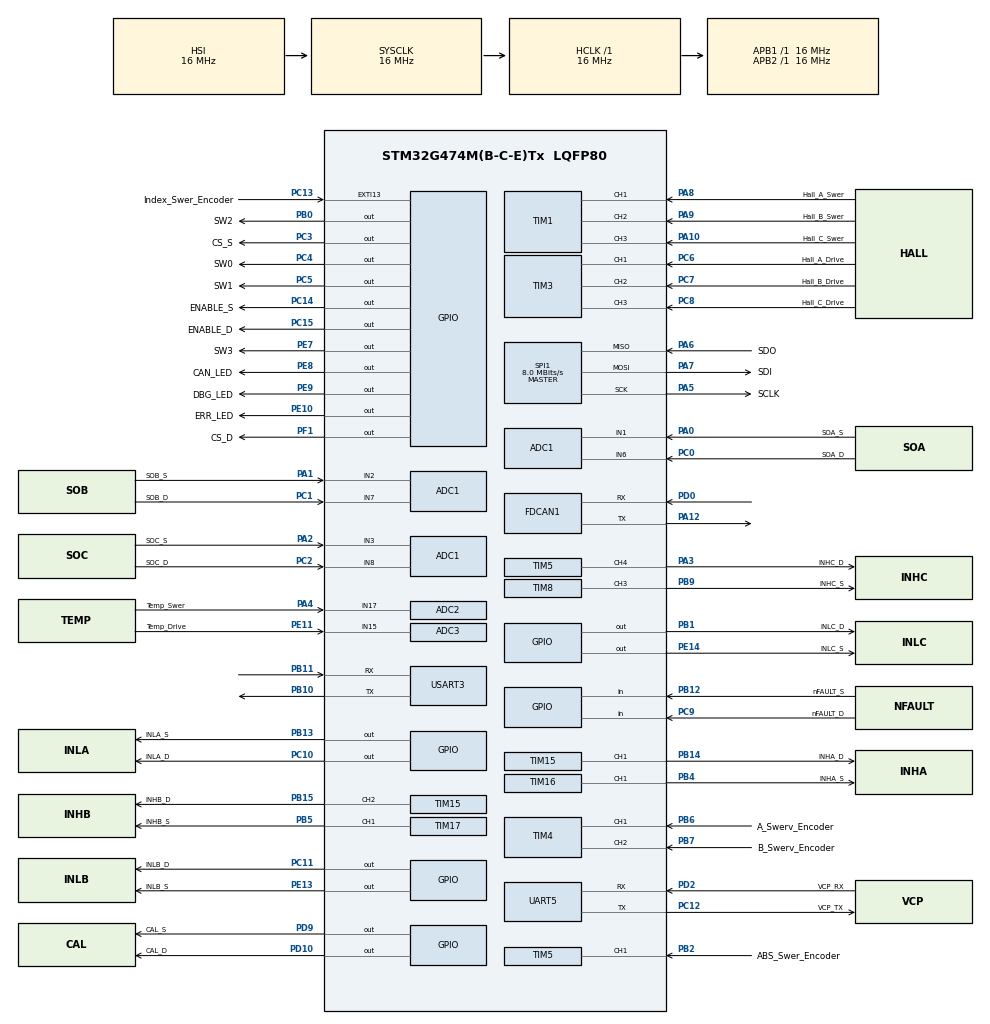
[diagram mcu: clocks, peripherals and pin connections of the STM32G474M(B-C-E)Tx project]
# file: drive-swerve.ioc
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ADC1.Channel-0\#ChannelRegularConversion=ADC_CHANNEL_6
ADC1.NbrOfConversionFlag=1
ADC1.OffsetNumber-0\#ChannelRegularConversion=ADC_OFFSET_NONE
ADC1.Rank-0\#ChannelRegularConversion=1
ADC1.SamplingTime-0\#ChannelRegularConversion=ADC_SAMPLETIME_2CYCLES_5
ADC1.master=1
ADC2.Channel-0\#ChannelRegularConversion=ADC_CHANNEL_17
ADC2.NbrOfConversionFlag=1
ADC2.OffsetNumber-0\#ChannelRegularConversion=ADC_OFFSET_NONE
ADC2.Rank-0\#ChannelRegularConversion=1
ADC2.SamplingTime-0\#ChannelRegularConversion=ADC_SAMPLETIME_2CYCLES_5
ADC3.Channel-0\#ChannelRegularConversion=ADC_CHANNEL_15
ADC3.NbrOfConversionFlag=1
ADC3.OffsetNumber-0\#ChannelRegularConversion=ADC_OFFSET_NONE
ADC3.Rank-0\#ChannelRegularConversion=1
ADC3.SamplingTime-0\#ChannelRegularConversion=ADC_SAMPLETIME_2CYCLES_5
ADC3.master=1
FDCAN1.AutoRetransmission=ENABLE
FDCAN1.CalculateBaudRateNominal=333333
FDCAN1.CalculateTimeBitNominal=3000
FDCAN1.CalculateTimeQuantumNominal=1000.0
Mcu.Family=STM32G4
Mcu.Name=STM32G474M(B-C-E)Tx
Mcu.Package=LQFP80
NVIC.PriorityGroup=NVIC_PRIORITYGROUP_4
NVIC.TIM1_CC_IRQn=true\:0\:0\:false\:false\:true\:true\:true\:true
NVIC.TIM3_IRQn=true\:0\:0\:false\:false\:true\:true\:true\:true
PA0.GPIO_Label=SOA_S
PA0.Mode=IN1-Single-Ended
PA0.Signal=ADC1_IN1
PA1.GPIO_Label=SOB_S
PA1.Mode=IN2-Single-Ended
PA1.Signal=ADC1_IN2
PA10.GPIO_Label=Hall_C_Swer
PA10.Signal=SharedStack_PA10
PA10.Stacked=true
PA12.Mode=FDCAN_Activate
PA12.Signal=FDCAN1_TX
PA13.Mode=JTAG_4_pins
PA13.Signal=SYS_JTMS-SWDIO
PA14.Mode=JTAG_4_pins
PA14.Signal=SYS_JTCK-SWCLK
PA15.Mode=JTAG_4_pins
PA15.Signal=SYS_JTDI
PA2.GPIO_Label=SOC_S
PA2.Mode=IN3-Single-Ended
PA2.Signal=ADC1_IN3
PA3.GPIO_Label=INHC_D
PA3.Signal=S_TIM5_CH4
PA4.GPIO_Label=Temp_Swer
PA4.Mode=IN17-Single-Ended
PA4.Signal=ADC2_IN17
PA5.GPIO_Label=SCLK
PA5.Mode=Full_Duplex_Master
PA5.Signal=SPI1_SCK
PA6.GPIO_Label=SDO
PA6.Mode=Full_Duplex_Master
PA6.Signal=SPI1_MISO
PA7.GPIO_Label=SDI
PA7.Mode=Full_Duplex_Master
PA7.Signal=SPI1_MOSI
PA8.GPIO_Label=Hall_A_Swer
PA8.Signal=SharedStack_PA8
PA8.Stacked=true
PA9.GPIO_Label=Hall_B_Swer
PA9.Signal=SharedStack_PA9
PA9.Stacked=true
PB0.GPIO_Label=SW2
PB0.Signal=GPIO_Output
PB1.GPIO_Label=INLC_D
PB1.Signal=GPIO_Output
PB10.Mode=Asynchronous
PB10.Signal=USART3_TX
PB11.Mode=Asynchronous
PB11.Signal=USART3_RX
PB12.GPIO_Label=nFAULT_S
PB12.Signal=GPIO_Input
PB13.GPIO_Label=INLA_S
PB13.Signal=GPIO_Output
PB14.GPIO_Label=INHA_D
PB14.Signal=S_TIM15_CH1
PB15.GPIO_Label=INHB_D
PB15.Signal=S_TIM15_CH2
PB2.GPIO_Label=ABS_Swer_Encoder
PB2.Signal=S_TIM5_CH1
PB3.Mode=JTAG_4_pins
PB3.Signal=SYS_JTDO-SWO
PB4.GPIO_Label=INHA_S
PB4.Signal=S_TIM16_CH1
PB5.GPIO_Label=INHB_S
PB5.Signal=S_TIM17_CH1
PB6.GPIO_Label=A_Swerv_Encoder
PB6.Signal=S_TIM4_CH1
PB7.GPIO_Label=B_Swerv_Encoder
PB7.Signal=S_TIM4_CH2
PB9.GPIO_Label=INHC_S
PB9.Signal=S_TIM8_CH3
PC0.GPIO_Label=SOA_D
PC0.Mode=IN6-Single-Ended
PC0.Signal=ADC1_IN6
PC1.GPIO_Label=SOB_D
PC1.Mode=IN7-Single-Ended
PC1.Signal=ADC1_IN7
PC10.GPIO_Label=INLA_D
PC10.Signal=GPIO_Output
PC11.GPIO_Label=INLB_D
PC11.Signal=GPIO_Output
PC12.GPIO_Label=VCP_TX
PC12.Mode=Asynchronous
PC12.Signal=UART5_TX
PC13.GPIO_Label=Index_Swer_Encoder
PC13.Signal=GPXTI13
PC14-OSC32_IN.GPIO_Label=ENABLE_S
PC14-OSC32_IN.Signal=GPIO_Output
PC15-OSC32_OUT.GPIO_Label=ENABLE_D
PC15-OSC32_OUT.Signal=GPIO_Output
PC2.GPIO_Label=SOC_D
PC2.Mode=IN8-Single-Ended
PC2.Signal=ADC1_IN8
PC3.GPIO_Label=CS_S
PC3.Signal=GPIO_Output
PC4.GPIO_Label=SW0
PC4.Signal=GPIO_Output
PC5.GPIO_Label=SW1
PC5.Signal=GPIO_Output
PC6.GPIO_Label=Hall_A_Drive
PC6.Signal=SharedStack_PC6
PC6.Stacked=true
PC7.GPIO_Label=Hall_B_Drive
PC7.Signal=SharedStack_PC7
PC7.Stacked=true
PC8.GPIO_Label=Hall_C_Drive
PC8.Signal=SharedStack_PC8
PC8.Stacked=true
PC9.GPIO_Label=nFAULT_D
PC9.Signal=GPIO_Input
PD0.Mode=FDCAN_Activate
PD0.Signal=FDCAN1_RX
PD10.GPIO_Label=CAL_D
PD10.Signal=GPIO_Output
PD2.GPIO_Label=VCP_RX
PD2.Mode=Asynchronous
PD2.Signal=UART5_RX
PD9.GPIO_Label=CAL_S
PD9.Signal=GPIO_Output
PE10.GPIO_Label=ERR_LED
PE10.Signal=GPIO_Output
PE11.GPIO_Label=Temp_Drive
PE11.Mode=IN15-Single-Ended
PE11.Signal=ADC3_IN15
PE13.GPIO_Label=INLB_S
PE13.Signal=GPIO_Output
PE14.GPIO_Label=INLC_S
PE14.Signal=GPIO_Output
PE7.GPIO_Label=SW3
PE7.Signal=GPIO_Output
PE8.GPIO_Label=CAN_LED
PE8.Signal=GPIO_Output
PE9.GPIO_Label=DBG_LED
PE9.Signal=GPIO_Output
PF0-OSC_IN.Mode=HSE-External-Clock-Source
PF0-OSC_IN.Signal=RCC_OSC_IN
PF1-OSC_OUT.GPIO_Label=CS_D
PF1-OSC_OUT.Signal=GPIO_Output
ProjectManager.HeapSize=0x200
ProjectManager.StackSize=0x400
ProjectManager.TargetToolchain=CMake
RCC.AHBFreq_Value=16000000
RCC.APB1Freq_Value=16000000
RCC.APB1TimFreq_Value=16000000
RCC.APB2Freq_Value=16000000
RCC.APB2TimFreq_Value=16000000
RCC.CortexFreq_Value=16000000
RCC.EXTERNAL_CLOCK_VALUE=12288000
RCC.HCLKFreq_Value=16000000
RCC.HSE_VALUE=8000000
RCC.HSI48_VALUE=48000000
RCC.HSI_VALUE=16000000
RCC.LSE_VALUE=32768
RCC.SYSCLKFreq_VALUE=16000000
RCC.USBFreq_Value=64000000
RCC.VCOOutputFreq_Value=128000000
SH.S_TIM15_CH1.0=TIM15_CH1,PWM Generation1 CH1
SH.S_TIM15_CH2.0=TIM15_CH2,PWM Generation2 CH2
SH.S_TIM16_CH1.0=TIM16_CH1,PWM Generation1 CH1
SH.S_TIM17_CH1.0=TIM17_CH1,PWM Generation1 CH1
SH.S_TIM4_CH1.0=TIM4_CH1,Encoder_Interface
SH.S_TIM4_CH2.0=TIM4_CH2,Encoder_Interface
SH.S_TIM5_CH1.0=TIM5_CH1,PWM_Input_1
SH.S_TIM5_CH4.0=TIM5_CH4,PWM Generation4 CH4
SH.S_TIM8_CH3.0=TIM8_CH3,PWM Generation3 CH3
SH.SharedStack_PA10.0=TIM1_CH3,Xored_Inputs_Hall_Sensor_Interface
SH.SharedStack_PA8.0=TIM1_CH1,Xored_Inputs_Hall_Sensor_Interface
SH.SharedStack_PA9.0=TIM1_CH2,Xored_Inputs_Hall_Sensor_Interface
SH.SharedStack_PC6.0=TIM3_CH1,Xored_Inputs_Hall_Sensor_Interface
SH.SharedStack_PC7.0=TIM3_CH2,Xored_Inputs_Hall_Sensor_Interface
SH.SharedStack_PC8.0=TIM3_CH3,Xored_Inputs_Hall_Sensor_Interface
SPI1.CLKPhase=SPI_PHASE_2EDGE
SPI1.CalculateBaudRate=8.0 MBits/s
SPI1.DataSize=SPI_DATASIZE_16BIT
SPI1.Direction=SPI_DIRECTION_2LINES
SPI1.Mode=SPI_MODE_MASTER
SPI1.VirtualType=VM_MASTER
TIM15.Channel-PWM\ Generation1\ CH1=TIM_CHANNEL_1
TIM15.Channel-PWM\ Generation2\ CH2=TIM_CHANNEL_2
TIM16.Channel=TIM_CHANNEL_1
TIM17.Channel=TIM_CHANNEL_1
TIM4.EncoderMode=TIM_ENCODERMODE_TI12
TIM4.IC2Filter=5
TIM5.Channel-PWM\ Generation4\ CH4=TIM_CHANNEL_4
TIM5.ICFilter_1=5
TIM5.ICFilter_2=5
TIM8.Channel-PWM\ Generation3\ CH3=TIM_CHANNEL_3
USART3.VirtualMode-Asynchronous=VM_ASYNC
VP_CORDIC_VS_CORDIC.Mode=CORDIC_Activate
VP_SYS_VS_DBSignals.Mode=DisableDeadBatterySignals
VP_TIM15_VS_ClockSourceINT.Mode=Internal
VP_TIM16_VS_ClockSourceINT.Mode=Enable_Timer
VP_TIM17_VS_ClockSourceINT.Mode=Enable_Timer
VP_TIM1_VS_ClockSourceINT.Mode=Internal
VP_TIM3_VS_ClockSourceINT.Mode=Internal
VP_TIM5_VS_ClockSourceINT.Mode=Internal
VP_TIM8_VS_ClockSourceINT.Mode=Internal
board=custom

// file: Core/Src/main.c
/* USER CODE BEGIN Header */
/**
  ******************************************************************************
  * @file           : main.c
  * @brief          : Main program body
  ******************************************************************************
  * @attention
  *
  * Copyright (c) 2026 STMicroelectronics.
  * All rights reserved.
  *
  * This software is licensed under terms that can be found in the LICENSE file
  * in the root directory of this software component.
  * If no LICENSE file comes with this software, it is provided AS-IS.
  *
  ******************************************************************************
  */
/* USER CODE END Header */
#include "main.h"

/* USER CODE BEGIN Includes */
#include "hall_encoders.h"
#include "commutation.h"
#include "CAN26/CAN26.h"

/* USER CODE END Includes */

/* USER CODE BEGIN PM */
#define HALL_DRIVE_TIM (&htim3)
#define HALL_SWERV_TIM (&htim1)

#define INHA_D_TIM (&htim15)
#define INHA_D_TIM_CHANNEL (TIM_CHANNEL_1)
#define INHB_D_TIM (&htim15)
#define INHB_D_TIM_CHANNEL (TIM_CHANNEL_2)
#define INHC_D_TIM (&htim5)
#define INHC_D_TIM_CHANNEL (TIM_CHANNEL_4)

#define INHA_S_TIM (&htim16)
#define INHA_S_TIM_CHANNEL (TIM_CHANNEL_1)
#define INHB_S_TIM (&htim17)
#define INHB_S_TIM_CHANNEL (TIM_CHANNEL_1)
#define INHC_S_TIM (&htim8)
#define INHC_S_TIM_CHANNEL (TIM_CHANNEL_3)

/* USER CODE END PM */

ADC_HandleTypeDef hadc1;
ADC_HandleTypeDef hadc2;
ADC_HandleTypeDef hadc3;

CORDIC_HandleTypeDef hcordic;

FDCAN_HandleTypeDef hfdcan1;

SPI_HandleTypeDef hspi1;

TIM_HandleTypeDef htim1;
TIM_HandleTypeDef htim3;
TIM_HandleTypeDef htim4;
TIM_HandleTypeDef htim5;
TIM_HandleTypeDef htim8;
TIM_HandleTypeDef htim15;
TIM_HandleTypeDef htim16;
TIM_HandleTypeDef htim17;

UART_HandleTypeDef huart5;
UART_HandleTypeDef huart3;

/* USER CODE BEGIN PV */
CANHandle_t CANHandle = &hfdcan1;
CANDevice_t CANDevice = {
    .motorDomain = 1,
    .deviceUUID = CAN_UUID_BLDC_FRONT_TIRE_LEFT
};

/* USER CODE END PV */

void SystemClock_Config(void);
static void MX_GPIO_Init(void);
static void MX_FDCAN1_Init(void);
static void MX_ADC2_Init(void);
static void MX_ADC1_Init(void);
static void MX_ADC3_Init(void);
static void MX_SPI1_Init(void);
static void MX_TIM1_Init(void);
static void MX_TIM3_Init(void);
static void MX_UART5_Init(void);
static void MX_USART3_UART_Init(void);
static void MX_TIM4_Init(void);
static void MX_TIM5_Init(void);
static void MX_TIM15_Init(void);
static void MX_TIM8_Init(void);
static void MX_TIM16_Init(void);
static void MX_TIM17_Init(void);
static void MX_CORDIC_Init(void);

/* USER CODE BEGIN 0 */
// Sends a general acknowlegement packet with success
static uint8_t SendAck(CANHandle_t CANHandle, const CANPacket_t *in_packet) {
    CANDevice_t receiver = in_packet->device;
    CANDevice_t sender = (CANDevice_t){.deviceUUID = in_packet->senderUUID};
    CANPacket_t response = CANUniversalPacket_Acknowledge(receiver, sender, false, in_packet->command & 0x7F);
    return CANSend(CANHandle, &response);
}

/* USER CODE END 0 */

int main(void)
{

  /* MCU Configuration--------------------------------------------------------*/

  /* Reset of all peripherals, Initializes the Flash interface and the Systick. */
  HAL_Init();

  /* Configure the system clock */
  SystemClock_Config();

  /* Initialize all configured peripherals */
  MX_GPIO_Init();
  MX_FDCAN1_Init();
  MX_ADC2_Init();
  MX_ADC1_Init();
  MX_ADC3_Init();
  MX_SPI1_Init();
  MX_TIM1_Init();
  MX_TIM3_Init();
  MX_UART5_Init();
  MX_USART3_UART_Init();
  MX_TIM4_Init();
  MX_TIM5_Init();
  MX_TIM15_Init();
  MX_TIM8_Init();
  MX_TIM16_Init();
  MX_TIM17_Init();
  MX_CORDIC_Init();
  /* USER CODE BEGIN 2 */
  Hall_Init(HALL_ID_DRIVE, (HallConfig_t){
            .timer = HALL_DRIVE_TIM,
            .a_gpio = Hall_A_Drive_GPIO_Port,
            .a_gpio_pin = Hall_A_Drive_Pin,
            .b_gpio = Hall_B_Drive_GPIO_Port,
            .b_gpio_pin = Hall_B_Drive_Pin,
            .c_gpio = Hall_C_Drive_GPIO_Port,
            .c_gpio_pin = Hall_C_Drive_Pin
  });
  Hall_Init(HALL_ID_SWERVE, (HallConfig_t){
            .timer = HALL_SWERV_TIM,
            .a_gpio = Hall_A_Swer_GPIO_Port,
            .a_gpio_pin = Hall_A_Swer_Pin,
            .b_gpio = Hall_B_Swer_GPIO_Port,
            .b_gpio_pin = Hall_B_Swer_Pin,
            .c_gpio = Hall_C_Swer_GPIO_Port,
            .c_gpio_pin = Hall_C_Swer_Pin
  });
  Commutation_Init(DRIVER_ID_DRIVE, (GateDriver_t){
            .a = (PWMPin_t){
                .tim = INHA_D_TIM,
                .tim_channel = INHA_D_TIM_CHANNEL,
                .lo_gpio = INLA_D_GPIO_Port,
                .lo_gpio_pin = INLA_D_Pin
            },
            .b = (PWMPin_t){
                .tim = INHB_D_TIM,
                .tim_channel = INHB_D_TIM_CHANNEL,
                .lo_gpio = INLB_D_GPIO_Port,
                .lo_gpio_pin = INLB_D_Pin
            },
            .c = (PWMPin_t){
                .tim = INHC_D_TIM,
                .tim_channel = INHC_D_TIM_CHANNEL,
                .lo_gpio = INLC_D_GPIO_Port,
                .lo_gpio_pin = INLC_D_Pin
            }
  });
  Commutation_Init(DRIVER_ID_SWERVE, (GateDriver_t){
            .a = (PWMPin_t){
                .tim = INHA_S_TIM,
                .tim_channel = INHA_S_TIM_CHANNEL,
                .lo_gpio = INLA_S_GPIO_Port,
                .lo_gpio_pin = INLA_S_Pin
            },
            .b = (PWMPin_t){
                .tim = INHB_S_TIM,
                .tim_channel = INHB_S_TIM_CHANNEL,
                .lo_gpio = INLB_S_GPIO_Port,
                .lo_gpio_pin = INLB_S_Pin
            },
            .c = (PWMPin_t){
                .tim = INHC_S_TIM,
                .tim_channel = INHC_S_TIM_CHANNEL,
                .lo_gpio = INLC_S_GPIO_Port,
                .lo_gpio_pin = INLC_S_Pin
            }
  });

  CANInit(CANHandle, &CANDevice);

  /* Configure CORDIC peripheral */
  LL_CORDIC_Config(CORDIC, LL_CORDIC_FUNCTION_COSINE,
		  	  	  	  	   LL_CORDIC_PRECISION_6CYCLES,
						   LL_CORDIC_SCALE_0,
						   LL_CORDIC_NBWRITE_1,
						   LL_CORDIC_NBREAD_2,
						   LL_CORDIC_INSIZE_16BITS,
						   LL_CORDIC_OUTSIZE_16BITS);

  /* USER CODE END 2 */

  /* Infinite loop */
  /* USER CODE BEGIN WHILE */
  while (1) {
    CANPacket_t packet;
    if (CANPollAndReceive(CANHandle, &packet)) {
        int ack = packet.command & 0x80;
        switch (packet.command & 0x7F) {
            case CAN_COMMAND_ID__VERSION_GET: {
                if (ack) {
                    CANUniversalPacket_GetFirmwareVersion_Decoded_t decoded =
                        CANUniversalPacket_GetFirmwareVersion_Decode(&packet);
                    CANPacket_t response = CANUniversalPacket_FirmwareVersion(decoded.receiver, decoded.sender, "d&s", 0);
                    CANSend(CANHandle, &response);

                }
                break;
            }
            case CAN_COMMAND_ID__E_STOP: {
                // TODO: do estop things
                if (ack) SendAck(CANHandle, &packet);
                break;
            }
            // TODO: encoder packets
            // TODO: bldc packets
        }
    }
    /* USER CODE END WHILE */

  }
}

void SystemClock_Config(void)
{
  RCC_OscInitTypeDef RCC_OscInitStruct = {0};
  RCC_ClkInitTypeDef RCC_ClkInitStruct = {0};

  /** Configure the main internal regulator output voltage
  */
  HAL_PWREx_ControlVoltageScaling(PWR_REGULATOR_VOLTAGE_SCALE1);

  /** Initializes the RCC Oscillators according to the specified parameters
  * in the RCC_OscInitTypeDef structure.
  */
  RCC_OscInitStruct.OscillatorType = RCC_OSCILLATORTYPE_HSI;
  RCC_OscInitStruct.HSIState = RCC_HSI_ON;
  RCC_OscInitStruct.HSICalibrationValue = RCC_HSICALIBRATION_DEFAULT;
  RCC_OscInitStruct.PLL.PLLState = RCC_PLL_NONE;
  if (HAL_RCC_OscConfig(&RCC_OscInitStruct) != HAL_OK)
  {
    Error_Handler();
  }

  /** Initializes the CPU, AHB and APB buses clocks
  */
  RCC_ClkInitStruct.ClockType = RCC_CLOCKTYPE_HCLK|RCC_CLOCKTYPE_SYSCLK
                              |RCC_CLOCKTYPE_PCLK1|RCC_CLOCKTYPE_PCLK2;
  RCC_ClkInitStruct.SYSCLKSource = RCC_SYSCLKSOURCE_HSI;
  RCC_ClkInitStruct.AHBCLKDivider = RCC_SYSCLK_DIV1;
  RCC_ClkInitStruct.APB1CLKDivider = RCC_HCLK_DIV1;
  RCC_ClkInitStruct.APB2CLKDivider = RCC_HCLK_DIV1;

  if (HAL_RCC_ClockConfig(&RCC_ClkInitStruct, FLASH_LATENCY_0) != HAL_OK)
  {
    Error_Handler();
  }
}

static void MX_ADC1_Init(void)
{

  ADC_MultiModeTypeDef multimode = {0};
  ADC_ChannelConfTypeDef sConfig = {0};

  /** Common config
  */
  hadc1.Instance = ADC1;
  hadc1.Init.ClockPrescaler = ADC_CLOCK_SYNC_PCLK_DIV2;
  hadc1.Init.Resolution = ADC_RESOLUTION_12B;
  hadc1.Init.DataAlign = ADC_DATAALIGN_RIGHT;
  hadc1.Init.GainCompensation = 0;
  hadc1.Init.ScanConvMode = ADC_SCAN_DISABLE;
  hadc1.Init.EOCSelection = ADC_EOC_SINGLE_CONV;
  hadc1.Init.LowPowerAutoWait = DISABLE;
  hadc1.Init.ContinuousConvMode = DISABLE;
  hadc1.Init.NbrOfConversion = 1;
  hadc1.Init.DiscontinuousConvMode = DISABLE;
  hadc1.Init.ExternalTrigConv = ADC_SOFTWARE_START;
  hadc1.Init.ExternalTrigConvEdge = ADC_EXTERNALTRIGCONVEDGE_NONE;
  hadc1.Init.DMAContinuousRequests = DISABLE;
  hadc1.Init.Overrun = ADC_OVR_DATA_PRESERVED;
  hadc1.Init.OversamplingMode = DISABLE;
  if (HAL_ADC_Init(&hadc1) != HAL_OK)
  {
    Error_Handler();
  }

  /** Configure the ADC multi-mode
  */
  multimode.Mode = ADC_MODE_INDEPENDENT;
  if (HAL_ADCEx_MultiModeConfigChannel(&hadc1, &multimode) != HAL_OK)
  {
    Error_Handler();
  }

  /** Configure Regular Channel
  */
  sConfig.Channel = ADC_CHANNEL_6;
  sConfig.Rank = ADC_REGULAR_RANK_1;
  sConfig.SamplingTime = ADC_SAMPLETIME_2CYCLES_5;
  sConfig.SingleDiff = ADC_SINGLE_ENDED;
  sConfig.OffsetNumber = ADC_OFFSET_NONE;
  sConfig.Offset = 0;
  if (HAL_ADC_ConfigChannel(&hadc1, &sConfig) != HAL_OK)
  {
    Error_Handler();
  }

}

static void MX_ADC2_Init(void)
{

  ADC_ChannelConfTypeDef sConfig = {0};

  /** Common config
  */
  hadc2.Instance = ADC2;
  hadc2.Init.ClockPrescaler = ADC_CLOCK_SYNC_PCLK_DIV2;
  hadc2.Init.Resolution = ADC_RESOLUTION_12B;
  hadc2.Init.DataAlign = ADC_DATAALIGN_RIGHT;
  hadc2.Init.GainCompensation = 0;
  hadc2.Init.ScanConvMode = ADC_SCAN_DISABLE;
  hadc2.Init.EOCSelection = ADC_EOC_SINGLE_CONV;
  hadc2.Init.LowPowerAutoWait = DISABLE;
  hadc2.Init.ContinuousConvMode = DISABLE;
  hadc2.Init.NbrOfConversion = 1;
  hadc2.Init.DiscontinuousConvMode = DISABLE;
  hadc2.Init.ExternalTrigConv = ADC_SOFTWARE_START;
  hadc2.Init.ExternalTrigConvEdge = ADC_EXTERNALTRIGCONVEDGE_NONE;
  hadc2.Init.DMAContinuousRequests = DISABLE;
  hadc2.Init.Overrun = ADC_OVR_DATA_PRESERVED;
  hadc2.Init.OversamplingMode = DISABLE;
  if (HAL_ADC_Init(&hadc2) != HAL_OK)
  {
    Error_Handler();
  }

  /** Configure Regular Channel
  */
  sConfig.Channel = ADC_CHANNEL_17;
  sConfig.Rank = ADC_REGULAR_RANK_1;
  sConfig.SamplingTime = ADC_SAMPLETIME_2CYCLES_5;
  sConfig.SingleDiff = ADC_SINGLE_ENDED;
  sConfig.OffsetNumber = ADC_OFFSET_NONE;
  sConfig.Offset = 0;
  if (HAL_ADC_ConfigChannel(&hadc2, &sConfig) != HAL_OK)
  {
    Error_Handler();
  }

}

static void MX_ADC3_Init(void)
{

  ADC_MultiModeTypeDef multimode = {0};
  ADC_ChannelConfTypeDef sConfig = {0};

  /** Common config
  */
  hadc3.Instance = ADC3;
  hadc3.Init.ClockPrescaler = ADC_CLOCK_SYNC_PCLK_DIV2;
  hadc3.Init.Resolution = ADC_RESOLUTION_12B;
  hadc3.Init.DataAlign = ADC_DATAALIGN_RIGHT;
  hadc3.Init.GainCompensation = 0;
  hadc3.Init.ScanConvMode = ADC_SCAN_DISABLE;
  hadc3.Init.EOCSelection = ADC_EOC_SINGLE_CONV;
  hadc3.Init.LowPowerAutoWait = DISABLE;
  hadc3.Init.ContinuousConvMode = DISABLE;
  hadc3.Init.NbrOfConversion = 1;
  hadc3.Init.DiscontinuousConvMode = DISABLE;
  hadc3.Init.ExternalTrigConv = ADC_SOFTWARE_START;
  hadc3.Init.ExternalTrigConvEdge = ADC_EXTERNALTRIGCONVEDGE_NONE;
  hadc3.Init.DMAContinuousRequests = DISABLE;
  hadc3.Init.Overrun = ADC_OVR_DATA_PRESERVED;
  hadc3.Init.OversamplingMode = DISABLE;
  if (HAL_ADC_Init(&hadc3) != HAL_OK)
  {
    Error_Handler();
  }

  /** Configure the ADC multi-mode
  */
  multimode.Mode = ADC_MODE_INDEPENDENT;
  if (HAL_ADCEx_MultiModeConfigChannel(&hadc3, &multimode) != HAL_OK)
  {
    Error_Handler();
  }

  /** Configure Regular Channel
  */
  sConfig.Channel = ADC_CHANNEL_15;
  sConfig.Rank = ADC_REGULAR_RANK_1;
  sConfig.SamplingTime = ADC_SAMPLETIME_2CYCLES_5;
  sConfig.SingleDiff = ADC_SINGLE_ENDED;
  sConfig.OffsetNumber = ADC_OFFSET_NONE;
  sConfig.Offset = 0;
  if (HAL_ADC_ConfigChannel(&hadc3, &sConfig) != HAL_OK)
  {
    Error_Handler();
  }

}

static void MX_CORDIC_Init(void)
{

  hcordic.Instance = CORDIC;
  if (HAL_CORDIC_Init(&hcordic) != HAL_OK)
  {
    Error_Handler();
  }

}

static void MX_FDCAN1_Init(void)
{

  hfdcan1.Instance = FDCAN1;
  hfdcan1.Init.ClockDivider = FDCAN_CLOCK_DIV1;
  hfdcan1.Init.FrameFormat = FDCAN_FRAME_CLASSIC;
  hfdcan1.Init.Mode = FDCAN_MODE_NORMAL;
  hfdcan1.Init.AutoRetransmission = ENABLE;
  hfdcan1.Init.TransmitPause = DISABLE;
  hfdcan1.Init.ProtocolException = DISABLE;
  hfdcan1.Init.NominalPrescaler = 16;
  hfdcan1.Init.NominalSyncJumpWidth = 1;
  hfdcan1.Init.NominalTimeSeg1 = 1;
  hfdcan1.Init.NominalTimeSeg2 = 1;
  hfdcan1.Init.DataPrescaler = 1;
  hfdcan1.Init.DataSyncJumpWidth = 1;
  hfdcan1.Init.DataTimeSeg1 = 1;
  hfdcan1.Init.DataTimeSeg2 = 1;
  hfdcan1.Init.StdFiltersNbr = 0;
  hfdcan1.Init.ExtFiltersNbr = 0;
  hfdcan1.Init.TxFifoQueueMode = FDCAN_TX_FIFO_OPERATION;
  if (HAL_FDCAN_Init(&hfdcan1) != HAL_OK)
  {
    Error_Handler();
  }

}

static void MX_SPI1_Init(void)
{

  /* SPI1 parameter configuration*/
  hspi1.Instance = SPI1;
  hspi1.Init.Mode = SPI_MODE_MASTER;
  hspi1.Init.Direction = SPI_DIRECTION_2LINES;
  hspi1.Init.DataSize = SPI_DATASIZE_16BIT;
  hspi1.Init.CLKPolarity = SPI_POLARITY_LOW;
  hspi1.Init.CLKPhase = SPI_PHASE_2EDGE;
  hspi1.Init.NSS = SPI_NSS_SOFT;
  hspi1.Init.BaudRatePrescaler = SPI_BAUDRATEPRESCALER_2;
  hspi1.Init.FirstBit = SPI_FIRSTBIT_MSB;
  hspi1.Init.TIMode = SPI_TIMODE_DISABLE;
  hspi1.Init.CRCCalculation = SPI_CRCCALCULATION_DISABLE;
  hspi1.Init.CRCPolynomial = 7;
  hspi1.Init.CRCLength = SPI_CRC_LENGTH_DATASIZE;
  hspi1.Init.NSSPMode = SPI_NSS_PULSE_DISABLE;
  if (HAL_SPI_Init(&hspi1) != HAL_OK)
  {
    Error_Handler();
  }

}

static void MX_TIM1_Init(void)
{

  TIM_ClockConfigTypeDef sClockSourceConfig = {0};
  TIM_HallSensor_InitTypeDef sConfig = {0};
  TIM_MasterConfigTypeDef sMasterConfig = {0};

  htim1.Instance = TIM1;
  htim1.Init.Prescaler = 0;
  htim1.Init.CounterMode = TIM_COUNTERMODE_UP;
  htim1.Init.Period = 65535;
  htim1.Init.ClockDivision = TIM_CLOCKDIVISION_DIV1;
  htim1.Init.RepetitionCounter = 0;
  htim1.Init.AutoReloadPreload = TIM_AUTORELOAD_PRELOAD_DISABLE;
  if (HAL_TIM_Base_Init(&htim1) != HAL_OK)
  {
    Error_Handler();
  }
  sClockSourceConfig.ClockSource = TIM_CLOCKSOURCE_INTERNAL;
  if (HAL_TIM_ConfigClockSource(&htim1, &sClockSourceConfig) != HAL_OK)
  {
    Error_Handler();
  }
  sConfig.IC1Polarity = TIM_ICPOLARITY_RISING;
  sConfig.IC1Prescaler = TIM_ICPSC_DIV1;
  sConfig.IC1Filter = 0;
  sConfig.Commutation_Delay = 0;
  if (HAL_TIMEx_HallSensor_Init(&htim1, &sConfig) != HAL_OK)
  {
    Error_Handler();
  }
  sMasterConfig.MasterOutputTrigger = TIM_TRGO_OC2REF;
  sMasterConfig.MasterOutputTrigger2 = TIM_TRGO2_RESET;
  sMasterConfig.MasterSlaveMode = TIM_MASTERSLAVEMODE_DISABLE;
  if (HAL_TIMEx_MasterConfigSynchronization(&htim1, &sMasterConfig) != HAL_OK)
  {
    Error_Handler();
  }

}

static void MX_TIM3_Init(void)
{

  TIM_ClockConfigTypeDef sClockSourceConfig = {0};
  TIM_HallSensor_InitTypeDef sConfig = {0};
  TIM_MasterConfigTypeDef sMasterConfig = {0};

  htim3.Instance = TIM3;
  htim3.Init.Prescaler = 0;
  htim3.Init.CounterMode = TIM_COUNTERMODE_UP;
  htim3.Init.Period = 65535;
  htim3.Init.ClockDivision = TIM_CLOCKDIVISION_DIV1;
  htim3.Init.AutoReloadPreload = TIM_AUTORELOAD_PRELOAD_DISABLE;
  if (HAL_TIM_Base_Init(&htim3) != HAL_OK)
  {
    Error_Handler();
  }
  sClockSourceConfig.ClockSource = TIM_CLOCKSOURCE_INTERNAL;
  if (HAL_TIM_ConfigClockSource(&htim3, &sClockSourceConfig) != HAL_OK)
  {
    Error_Handler();
  }
  sConfig.IC1Polarity = TIM_ICPOLARITY_RISING;
  sConfig.IC1Prescaler = TIM_ICPSC_DIV1;
  sConfig.IC1Filter = 0;
  sConfig.Commutation_Delay = 0;
  if (HAL_TIMEx_HallSensor_Init(&htim3, &sConfig) != HAL_OK)
  {
    Error_Handler();
  }
  sMasterConfig.MasterOutputTrigger = TIM_TRGO_OC2REF;
  sMasterConfig.MasterSlaveMode = TIM_MASTERSLAVEMODE_DISABLE;
  if (HAL_TIMEx_MasterConfigSynchronization(&htim3, &sMasterConfig) != HAL_OK)
  {
    Error_Handler();
  }

}

static void MX_TIM4_Init(void)
{

  TIM_Encoder_InitTypeDef sConfig = {0};
  TIM_MasterConfigTypeDef sMasterConfig = {0};

  htim4.Instance = TIM4;
  htim4.Init.Prescaler = 0;
  htim4.Init.CounterMode = TIM_COUNTERMODE_UP;
  htim4.Init.Period = 65535;
  htim4.Init.ClockDivision = TIM_CLOCKDIVISION_DIV1;
  htim4.Init.AutoReloadPreload = TIM_AUTORELOAD_PRELOAD_DISABLE;
  sConfig.EncoderMode = TIM_ENCODERMODE_TI12;
  sConfig.IC1Polarity = TIM_ICPOLARITY_RISING;
  sConfig.IC1Selection = TIM_ICSELECTION_DIRECTTI;
  sConfig.IC1Prescaler = TIM_ICPSC_DIV1;
  sConfig.IC1Filter = 0;
  sConfig.IC2Polarity = TIM_ICPOLARITY_RISING;
  sConfig.IC2Selection = TIM_ICSELECTION_DIRECTTI;
  sConfig.IC2Prescaler = TIM_ICPSC_DIV1;
  sConfig.IC2Filter = 5;
  if (HAL_TIM_Encoder_Init(&htim4, &sConfig) != HAL_OK)
  {
    Error_Handler();
  }
  sMasterConfig.MasterOutputTrigger = TIM_TRGO_RESET;
  sMasterConfig.MasterSlaveMode = TIM_MASTERSLAVEMODE_DISABLE;
  if (HAL_TIMEx_MasterConfigSynchronization(&htim4, &sMasterConfig) != HAL_OK)
  {
    Error_Handler();
  }

}

static void MX_TIM5_Init(void)
{

  TIM_ClockConfigTypeDef sClockSourceConfig = {0};
  TIM_SlaveConfigTypeDef sSlaveConfig = {0};
  TIM_IC_InitTypeDef sConfigIC = {0};
  TIM_MasterConfigTypeDef sMasterConfig = {0};
  TIM_OC_InitTypeDef sConfigOC = {0};

  htim5.Instance = TIM5;
  htim5.Init.Prescaler = 0;
  htim5.Init.CounterMode = TIM_COUNTERMODE_UP;
  htim5.Init.Period = 4294967295;
  htim5.Init.ClockDivision = TIM_CLOCKDIVISION_DIV1;
  htim5.Init.AutoReloadPreload = TIM_AUTORELOAD_PRELOAD_DISABLE;
  if (HAL_TIM_Base_Init(&htim5) != HAL_OK)
  {
    Error_Handler();
  }
  sClockSourceConfig.ClockSource = TIM_CLOCKSOURCE_INTERNAL;
  if (HAL_TIM_ConfigClockSource(&htim5, &sClockSourceConfig) != HAL_OK)
  {
    Error_Handler();
  }
  if (HAL_TIM_PWM_Init(&htim5) != HAL_OK)
  {
    Error_Handler();
  }
  if (HAL_TIM_IC_Init(&htim5) != HAL_OK)
  {
    Error_Handler();
  }
  sSlaveConfig.SlaveMode = TIM_SLAVEMODE_RESET;
  sSlaveConfig.InputTrigger = TIM_TS_TI1FP1;
  sSlaveConfig.TriggerPolarity = TIM_INPUTCHANNELPOLARITY_RISING;
  sSlaveConfig.TriggerPrescaler = TIM_ICPSC_DIV1;
  sSlaveConfig.TriggerFilter = 5;
  if (HAL_TIM_SlaveConfigSynchro(&htim5, &sSlaveConfig) != HAL_OK)
  {
    Error_Handler();
  }
  sConfigIC.ICPolarity = TIM_INPUTCHANNELPOLARITY_RISING;
  sConfigIC.ICSelection = TIM_ICSELECTION_DIRECTTI;
  sConfigIC.ICPrescaler = TIM_ICPSC_DIV1;
  sConfigIC.ICFilter = 5;
  if (HAL_TIM_IC_ConfigChannel(&htim5, &sConfigIC, TIM_CHANNEL_1) != HAL_OK)
  {
    Error_Handler();
  }
  sConfigIC.ICPolarity = TIM_INPUTCHANNELPOLARITY_FALLING;
  sConfigIC.ICSelection = TIM_ICSELECTION_INDIRECTTI;
  if (HAL_TIM_IC_ConfigChannel(&htim5, &sConfigIC, TIM_CHANNEL_2) != HAL_OK)
  {
    Error_Handler();
  }
  sMasterConfig.MasterOutputTrigger = TIM_TRGO_RESET;
  sMasterConfig.MasterSlaveMode = TIM_MASTERSLAVEMODE_DISABLE;
  if (HAL_TIMEx_MasterConfigSynchronization(&htim5, &sMasterConfig) != HAL_OK)
  {
    Error_Handler();
  }
  sConfigOC.OCMode = TIM_OCMODE_PWM1;
  sConfigOC.Pulse = 0;
  sConfigOC.OCPolarity = TIM_OCPOLARITY_HIGH;
  sConfigOC.OCFastMode = TIM_OCFAST_DISABLE;
  if (HAL_TIM_PWM_ConfigChannel(&htim5, &sConfigOC, TIM_CHANNEL_4) != HAL_OK)
  {
    Error_Handler();
  }
  HAL_TIM_MspPostInit(&htim5);

}

static void MX_TIM8_Init(void)
{

  TIM_ClockConfigTypeDef sClockSourceConfig = {0};
  TIM_MasterConfigTypeDef sMasterConfig = {0};
  TIM_OC_InitTypeDef sConfigOC = {0};
  TIM_BreakDeadTimeConfigTypeDef sBreakDeadTimeConfig = {0};

  htim8.Instance = TIM8;
  htim8.Init.Prescaler = 0;
  htim8.Init.CounterMode = TIM_COUNTERMODE_UP;
  htim8.Init.Period = 65535;
  htim8.Init.ClockDivision = TIM_CLOCKDIVISION_DIV1;
  htim8.Init.RepetitionCounter = 0;
  htim8.Init.AutoReloadPreload = TIM_AUTORELOAD_PRELOAD_DISABLE;
  if (HAL_TIM_Base_Init(&htim8) != HAL_OK)
  {
    Error_Handler();
  }
  sClockSourceConfig.ClockSource = TIM_CLOCKSOURCE_INTERNAL;
  if (HAL_TIM_ConfigClockSource(&htim8, &sClockSourceConfig) != HAL_OK)
  {
    Error_Handler();
  }
  if (HAL_TIM_PWM_Init(&htim8) != HAL_OK)
  {
    Error_Handler();
  }
  sMasterConfig.MasterOutputTrigger = TIM_TRGO_RESET;
  sMasterConfig.MasterOutputTrigger2 = TIM_TRGO2_RESET;
  sMasterConfig.MasterSlaveMode = TIM_MASTERSLAVEMODE_DISABLE;
  if (HAL_TIMEx_MasterConfigSynchronization(&htim8, &sMasterConfig) != HAL_OK)
  {
    Error_Handler();
  }
  sConfigOC.OCMode = TIM_OCMODE_PWM1;
  sConfigOC.Pulse = 0;
  sConfigOC.OCPolarity = TIM_OCPOLARITY_HIGH;
  sConfigOC.OCNPolarity = TIM_OCNPOLARITY_HIGH;
  sConfigOC.OCFastMode = TIM_OCFAST_DISABLE;
  sConfigOC.OCIdleState = TIM_OCIDLESTATE_RESET;
  sConfigOC.OCNIdleState = TIM_OCNIDLESTATE_RESET;
  if (HAL_TIM_PWM_ConfigChannel(&htim8, &sConfigOC, TIM_CHANNEL_3) != HAL_OK)
  {
    Error_Handler();
  }
  sBreakDeadTimeConfig.OffStateRunMode = TIM_OSSR_DISABLE;
  sBreakDeadTimeConfig.OffStateIDLEMode = TIM_OSSI_DISABLE;
  sBreakDeadTimeConfig.LockLevel = TIM_LOCKLEVEL_OFF;
  sBreakDeadTimeConfig.DeadTime = 0;
  sBreakDeadTimeConfig.BreakState = TIM_BREAK_DISABLE;
  sBreakDeadTimeConfig.BreakPolarity = TIM_BREAKPOLARITY_HIGH;
  sBreakDeadTimeConfig.BreakFilter = 0;
  sBreakDeadTimeConfig.BreakAFMode = TIM_BREAK_AFMODE_INPUT;
  sBreakDeadTimeConfig.Break2State = TIM_BREAK2_DISABLE;
  sBreakDeadTimeConfig.Break2Polarity = TIM_BREAK2POLARITY_HIGH;
  sBreakDeadTimeConfig.Break2Filter = 0;
  sBreakDeadTimeConfig.Break2AFMode = TIM_BREAK_AFMODE_INPUT;
  sBreakDeadTimeConfig.AutomaticOutput = TIM_AUTOMATICOUTPUT_DISABLE;
  if (HAL_TIMEx_ConfigBreakDeadTime(&htim8, &sBreakDeadTimeConfig) != HAL_OK)
  {
    Error_Handler();
  }
  HAL_TIM_MspPostInit(&htim8);

}

static void MX_TIM15_Init(void)
{

  TIM_ClockConfigTypeDef sClockSourceConfig = {0};
  TIM_MasterConfigTypeDef sMasterConfig = {0};
  TIM_OC_InitTypeDef sConfigOC = {0};
  TIM_BreakDeadTimeConfigTypeDef sBreakDeadTimeConfig = {0};

  htim15.Instance = TIM15;
  htim15.Init.Prescaler = 0;
  htim15.Init.CounterMode = TIM_COUNTERMODE_UP;
  htim15.Init.Period = 65535;
  htim15.Init.ClockDivision = TIM_CLOCKDIVISION_DIV1;
  htim15.Init.RepetitionCounter = 0;
  htim15.Init.AutoReloadPreload = TIM_AUTORELOAD_PRELOAD_DISABLE;
  if (HAL_TIM_Base_Init(&htim15) != HAL_OK)
  {
    Error_Handler();
  }
  sClockSourceConfig.ClockSource = TIM_CLOCKSOURCE_INTERNAL;
  if (HAL_TIM_ConfigClockSource(&htim15, &sClockSourceConfig) != HAL_OK)
  {
    Error_Handler();
  }
  if (HAL_TIM_PWM_Init(&htim15) != HAL_OK)
  {
    Error_Handler();
  }
  sMasterConfig.MasterOutputTrigger = TIM_TRGO_RESET;
  sMasterConfig.MasterSlaveMode = TIM_MASTERSLAVEMODE_DISABLE;
  if (HAL_TIMEx_MasterConfigSynchronization(&htim15, &sMasterConfig) != HAL_OK)
  {
    Error_Handler();
  }
  sConfigOC.OCMode = TIM_OCMODE_PWM1;
  sConfigOC.Pulse = 0;
  sConfigOC.OCPolarity = TIM_OCPOLARITY_HIGH;
  sConfigOC.OCNPolarity = TIM_OCNPOLARITY_HIGH;
  sConfigOC.OCFastMode = TIM_OCFAST_DISABLE;
  sConfigOC.OCIdleState = TIM_OCIDLESTATE_RESET;
  sConfigOC.OCNIdleState = TIM_OCNIDLESTATE_RESET;
  if (HAL_TIM_PWM_ConfigChannel(&htim15, &sConfigOC, TIM_CHANNEL_1) != HAL_OK)
  {
    Error_Handler();
  }
  if (HAL_TIM_PWM_ConfigChannel(&htim15, &sConfigOC, TIM_CHANNEL_2) != HAL_OK)
  {
    Error_Handler();
  }
  sBreakDeadTimeConfig.OffStateRunMode = TIM_OSSR_DISABLE;
  sBreakDeadTimeConfig.OffStateIDLEMode = TIM_OSSI_DISABLE;
  sBreakDeadTimeConfig.LockLevel = TIM_LOCKLEVEL_OFF;
  sBreakDeadTimeConfig.DeadTime = 0;
  sBreakDeadTimeConfig.BreakState = TIM_BREAK_DISABLE;
  sBreakDeadTimeConfig.BreakPolarity = TIM_BREAKPOLARITY_HIGH;
  sBreakDeadTimeConfig.BreakFilter = 0;
  sBreakDeadTimeConfig.AutomaticOutput = TIM_AUTOMATICOUTPUT_DISABLE;
  if (HAL_TIMEx_ConfigBreakDeadTime(&htim15, &sBreakDeadTimeConfig) != HAL_OK)
  {
    Error_Handler();
  }
  HAL_TIM_MspPostInit(&htim15);

}

static void MX_TIM16_Init(void)
{

  TIM_OC_InitTypeDef sConfigOC = {0};
  TIM_BreakDeadTimeConfigTypeDef sBreakDeadTimeConfig = {0};

  htim16.Instance = TIM16;
  htim16.Init.Prescaler = 0;
  htim16.Init.CounterMode = TIM_COUNTERMODE_UP;
  htim16.Init.Period = 65535;
  htim16.Init.ClockDivision = TIM_CLOCKDIVISION_DIV1;
  htim16.Init.RepetitionCounter = 0;
  htim16.Init.AutoReloadPreload = TIM_AUTORELOAD_PRELOAD_DISABLE;
  if (HAL_TIM_Base_Init(&htim16) != HAL_OK)
  {
    Error_Handler();
  }
  if (HAL_TIM_PWM_Init(&htim16) != HAL_OK)
  {
    Error_Handler();
  }
  sConfigOC.OCMode = TIM_OCMODE_PWM1;
  sConfigOC.Pulse = 0;
  sConfigOC.OCPolarity = TIM_OCPOLARITY_HIGH;
  sConfigOC.OCNPolarity = TIM_OCNPOLARITY_HIGH;
  sConfigOC.OCFastMode = TIM_OCFAST_DISABLE;
  sConfigOC.OCIdleState = TIM_OCIDLESTATE_RESET;
  sConfigOC.OCNIdleState = TIM_OCNIDLESTATE_RESET;
  if (HAL_TIM_PWM_ConfigChannel(&htim16, &sConfigOC, TIM_CHANNEL_1) != HAL_OK)
  {
    Error_Handler();
  }
  sBreakDeadTimeConfig.OffStateRunMode = TIM_OSSR_DISABLE;
  sBreakDeadTimeConfig.OffStateIDLEMode = TIM_OSSI_DISABLE;
  sBreakDeadTimeConfig.LockLevel = TIM_LOCKLEVEL_OFF;
  sBreakDeadTimeConfig.DeadTime = 0;
  sBreakDeadTimeConfig.BreakState = TIM_BREAK_DISABLE;
  sBreakDeadTimeConfig.BreakPolarity = TIM_BREAKPOLARITY_HIGH;
  sBreakDeadTimeConfig.BreakFilter = 0;
  sBreakDeadTimeConfig.AutomaticOutput = TIM_AUTOMATICOUTPUT_DISABLE;
  if (HAL_TIMEx_ConfigBreakDeadTime(&htim16, &sBreakDeadTimeConfig) != HAL_OK)
  {
    Error_Handler();
  }
  HAL_TIM_MspPostInit(&htim16);

}

static void MX_TIM17_Init(void)
{

  TIM_OC_InitTypeDef sConfigOC = {0};
  TIM_BreakDeadTimeConfigTypeDef sBreakDeadTimeConfig = {0};

  htim17.Instance = TIM17;
  htim17.Init.Prescaler = 0;
  htim17.Init.CounterMode = TIM_COUNTERMODE_UP;
  htim17.Init.Period = 65535;
  htim17.Init.ClockDivision = TIM_CLOCKDIVISION_DIV1;
  htim17.Init.RepetitionCounter = 0;
  htim17.Init.AutoReloadPreload = TIM_AUTORELOAD_PRELOAD_DISABLE;
  if (HAL_TIM_Base_Init(&htim17) != HAL_OK)
  {
    Error_Handler();
  }
  if (HAL_TIM_PWM_Init(&htim17) != HAL_OK)
  {
    Error_Handler();
  }
  sConfigOC.OCMode = TIM_OCMODE_PWM1;
  sConfigOC.Pulse = 0;
  sConfigOC.OCPolarity = TIM_OCPOLARITY_HIGH;
  sConfigOC.OCNPolarity = TIM_OCNPOLARITY_HIGH;
  sConfigOC.OCFastMode = TIM_OCFAST_DISABLE;
  sConfigOC.OCIdleState = TIM_OCIDLESTATE_RESET;
  sConfigOC.OCNIdleState = TIM_OCNIDLESTATE_RESET;
  if (HAL_TIM_PWM_ConfigChannel(&htim17, &sConfigOC, TIM_CHANNEL_1) != HAL_OK)
  {
    Error_Handler();
  }
  sBreakDeadTimeConfig.OffStateRunMode = TIM_OSSR_DISABLE;
  sBreakDeadTimeConfig.OffStateIDLEMode = TIM_OSSI_DISABLE;
  sBreakDeadTimeConfig.LockLevel = TIM_LOCKLEVEL_OFF;
  sBreakDeadTimeConfig.DeadTime = 0;
  sBreakDeadTimeConfig.BreakState = TIM_BREAK_DISABLE;
  sBreakDeadTimeConfig.BreakPolarity = TIM_BREAKPOLARITY_HIGH;
  sBreakDeadTimeConfig.BreakFilter = 0;
  sBreakDeadTimeConfig.AutomaticOutput = TIM_AUTOMATICOUTPUT_DISABLE;
  if (HAL_TIMEx_ConfigBreakDeadTime(&htim17, &sBreakDeadTimeConfig) != HAL_OK)
  {
    Error_Handler();
  }
  HAL_TIM_MspPostInit(&htim17);

}

static void MX_UART5_Init(void)
{

  huart5.Instance = UART5;
  huart5.Init.BaudRate = 115200;
  huart5.Init.WordLength = UART_WORDLENGTH_8B;
  huart5.Init.StopBits = UART_STOPBITS_1;
  huart5.Init.Parity = UART_PARITY_NONE;
  huart5.Init.Mode = UART_MODE_TX_RX;
  huart5.Init.HwFlowCtl = UART_HWCONTROL_NONE;
  huart5.Init.OverSampling = UART_OVERSAMPLING_16;
  huart5.Init.OneBitSampling = UART_ONE_BIT_SAMPLE_DISABLE;
  huart5.Init.ClockPrescaler = UART_PRESCALER_DIV1;
  huart5.AdvancedInit.AdvFeatureInit = UART_ADVFEATURE_NO_INIT;
  if (HAL_UART_Init(&huart5) != HAL_OK)
  {
    Error_Handler();
  }
  if (HAL_UARTEx_SetTxFifoThreshold(&huart5, UART_TXFIFO_THRESHOLD_1_8) != HAL_OK)
  {
    Error_Handler();
  }
  if (HAL_UARTEx_SetRxFifoThreshold(&huart5, UART_RXFIFO_THRESHOLD_1_8) != HAL_OK)
  {
    Error_Handler();
  }
  if (HAL_UARTEx_DisableFifoMode(&huart5) != HAL_OK)
  {
    Error_Handler();
  }

}

static void MX_USART3_UART_Init(void)
{

  huart3.Instance = USART3;
  huart3.Init.BaudRate = 115200;
  huart3.Init.WordLength = UART_WORDLENGTH_8B;
  huart3.Init.StopBits = UART_STOPBITS_1;
  huart3.Init.Parity = UART_PARITY_NONE;
  huart3.Init.Mode = UART_MODE_TX_RX;
  huart3.Init.HwFlowCtl = UART_HWCONTROL_NONE;
  huart3.Init.OverSampling = UART_OVERSAMPLING_16;
  huart3.Init.OneBitSampling = UART_ONE_BIT_SAMPLE_DISABLE;
  huart3.Init.ClockPrescaler = UART_PRESCALER_DIV1;
  huart3.AdvancedInit.AdvFeatureInit = UART_ADVFEATURE_NO_INIT;
  if (HAL_UART_Init(&huart3) != HAL_OK)
  {
    Error_Handler();
  }
  if (HAL_UARTEx_SetTxFifoThreshold(&huart3, UART_TXFIFO_THRESHOLD_1_8) != HAL_OK)
  {
    Error_Handler();
  }
  if (HAL_UARTEx_SetRxFifoThreshold(&huart3, UART_RXFIFO_THRESHOLD_1_8) != HAL_OK)
  {
    Error_Handler();
  }
  if (HAL_UARTEx_DisableFifoMode(&huart3) != HAL_OK)
  {
    Error_Handler();
  }

}

static void MX_GPIO_Init(void)
{
  GPIO_InitTypeDef GPIO_InitStruct = {0};

  /* GPIO Ports Clock Enable */
  __HAL_RCC_GPIOC_CLK_ENABLE();
  __HAL_RCC_GPIOF_CLK_ENABLE();
  __HAL_RCC_GPIOA_CLK_ENABLE();
  __HAL_RCC_GPIOB_CLK_ENABLE();
  __HAL_RCC_GPIOE_CLK_ENABLE();
  __HAL_RCC_GPIOD_CLK_ENABLE();

  /*Configure GPIO pin Output Level */
  HAL_GPIO_WritePin(GPIOC, ENABLE_S_Pin|ENABLE_D_Pin|CS_S_Pin|SW0_Pin
                          |SW1_Pin|INLA_D_Pin|INLB_D_Pin, GPIO_PIN_RESET);

  /*Configure GPIO pin Output Level */
  HAL_GPIO_WritePin(CS_D_GPIO_Port, CS_D_Pin, GPIO_PIN_RESET);

  /*Configure GPIO pin Output Level */
  HAL_GPIO_WritePin(GPIOB, SW2_Pin|INLC_D_Pin|INLA_S_Pin, GPIO_PIN_RESET);

  /*Configure GPIO pin Output Level */
  HAL_GPIO_WritePin(GPIOE, SW3_Pin|CAN_LED_Pin|DBG_LED_Pin|ERR_LED_Pin
                          |INLB_S_Pin|INLC_S_Pin, GPIO_PIN_RESET);

  /*Configure GPIO pin Output Level */
  HAL_GPIO_WritePin(GPIOD, CAL_S_Pin|CAL_D_Pin, GPIO_PIN_RESET);

  /*Configure GPIO pin : Index_Swer_Encoder_Pin */
  GPIO_InitStruct.Pin = Index_Swer_Encoder_Pin;
  GPIO_InitStruct.Mode = GPIO_MODE_IT_RISING;
  GPIO_InitStruct.Pull = GPIO_NOPULL;
  HAL_GPIO_Init(Index_Swer_Encoder_GPIO_Port, &GPIO_InitStruct);

  /*Configure GPIO pins : ENABLE_S_Pin ENABLE_D_Pin CS_S_Pin SW0_Pin
                           SW1_Pin INLA_D_Pin INLB_D_Pin */
  GPIO_InitStruct.Pin = ENABLE_S_Pin|ENABLE_D_Pin|CS_S_Pin|SW0_Pin
                          |SW1_Pin|INLA_D_Pin|INLB_D_Pin;
  GPIO_InitStruct.Mode = GPIO_MODE_OUTPUT_PP;
  GPIO_InitStruct.Pull = GPIO_NOPULL;
  GPIO_InitStruct.Speed = GPIO_SPEED_FREQ_LOW;
  HAL_GPIO_Init(GPIOC, &GPIO_InitStruct);

  /*Configure GPIO pin : CS_D_Pin */
  GPIO_InitStruct.Pin = CS_D_Pin;
  GPIO_InitStruct.Mode = GPIO_MODE_OUTPUT_PP;
  GPIO_InitStruct.Pull = GPIO_NOPULL;
  GPIO_InitStruct.Speed = GPIO_SPEED_FREQ_LOW;
  HAL_GPIO_Init(CS_D_GPIO_Port, &GPIO_InitStruct);

  /*Configure GPIO pins : SW2_Pin INLC_D_Pin INLA_S_Pin */
  GPIO_InitStruct.Pin = SW2_Pin|INLC_D_Pin|INLA_S_Pin;
  GPIO_InitStruct.Mode = GPIO_MODE_OUTPUT_PP;
  GPIO_InitStruct.Pull = GPIO_NOPULL;
  GPIO_InitStruct.Speed = GPIO_SPEED_FREQ_LOW;
  HAL_GPIO_Init(GPIOB, &GPIO_InitStruct);

  /*Configure GPIO pins : SW3_Pin CAN_LED_Pin DBG_LED_Pin ERR_LED_Pin
                           INLB_S_Pin INLC_S_Pin */
  GPIO_InitStruct.Pin = SW3_Pin|CAN_LED_Pin|DBG_LED_Pin|ERR_LED_Pin
                          |INLB_S_Pin|INLC_S_Pin;
  GPIO_InitStruct.Mode = GPIO_MODE_OUTPUT_PP;
  GPIO_InitStruct.Pull = GPIO_NOPULL;
  GPIO_InitStruct.Speed = GPIO_SPEED_FREQ_LOW;
  HAL_GPIO_Init(GPIOE, &GPIO_InitStruct);

  /*Configure GPIO pin : nFAULT_S_Pin */
  GPIO_InitStruct.Pin = nFAULT_S_Pin;
  GPIO_InitStruct.Mode = GPIO_MODE_INPUT;
  GPIO_InitStruct.Pull = GPIO_NOPULL;
  HAL_GPIO_Init(nFAULT_S_GPIO_Port, &GPIO_InitStruct);

  /*Configure GPIO pins : CAL_S_Pin CAL_D_Pin */
  GPIO_InitStruct.Pin = CAL_S_Pin|CAL_D_Pin;
  GPIO_InitStruct.Mode = GPIO_MODE_OUTPUT_PP;
  GPIO_InitStruct.Pull = GPIO_NOPULL;
  GPIO_InitStruct.Speed = GPIO_SPEED_FREQ_LOW;
  HAL_GPIO_Init(GPIOD, &GPIO_InitStruct);

  /*Configure GPIO pin : nFAULT_D_Pin */
  GPIO_InitStruct.Pin = nFAULT_D_Pin;
  GPIO_InitStruct.Mode = GPIO_MODE_INPUT;
  GPIO_InitStruct.Pull = GPIO_NOPULL;
  HAL_GPIO_Init(nFAULT_D_GPIO_Port, &GPIO_InitStruct);

}

void Error_Handler(void)
{
  __disable_irq();
  while (1)
  {
  }
}
